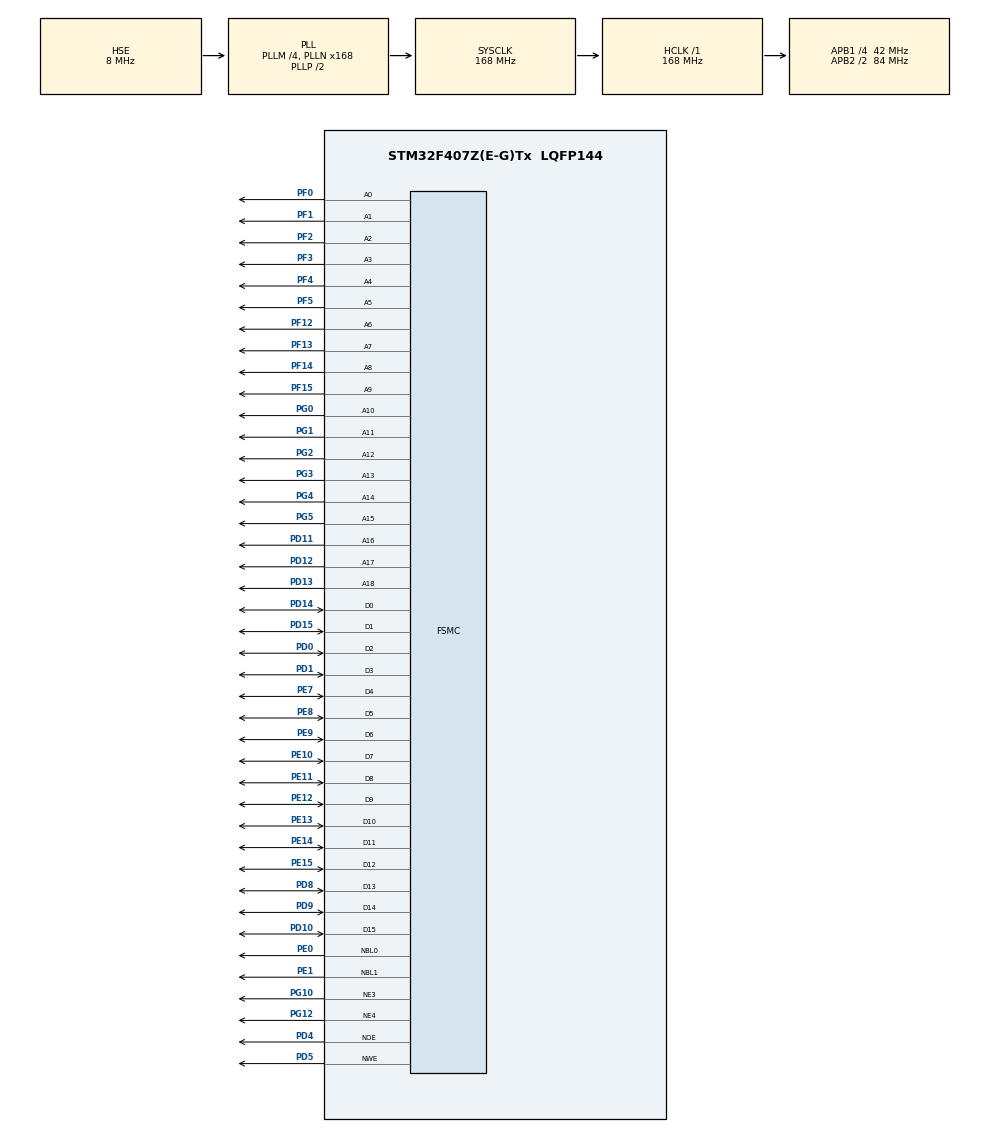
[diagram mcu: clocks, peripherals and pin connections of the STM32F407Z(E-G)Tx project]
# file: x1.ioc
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Dma.MEMTOMEM.0.Direction=DMA_MEMORY_TO_MEMORY
Dma.MEMTOMEM.0.FIFOMode=DMA_FIFOMODE_ENABLE
Dma.MEMTOMEM.0.FIFOThreshold=DMA_FIFO_THRESHOLD_FULL
Dma.MEMTOMEM.0.Instance=DMA2_Stream0
Dma.MEMTOMEM.0.MemBurst=DMA_MBURST_SINGLE
Dma.MEMTOMEM.0.MemDataAlignment=DMA_MDATAALIGN_BYTE
Dma.MEMTOMEM.0.MemInc=DMA_MINC_DISABLE
Dma.MEMTOMEM.0.Mode=DMA_NORMAL
Dma.MEMTOMEM.0.PeriphBurst=DMA_PBURST_SINGLE
Dma.MEMTOMEM.0.PeriphDataAlignment=DMA_PDATAALIGN_BYTE
Dma.MEMTOMEM.0.PeriphInc=DMA_PINC_DISABLE
Dma.MEMTOMEM.0.Priority=DMA_PRIORITY_LOW
Dma.Request0=MEMTOMEM
FSMC.AddressSetupTime2=15
FSMC.DataSetupTime2=150
FSMC.ExtendedMode1=FSMC_EXTENDED_MODE_ENABLE
FSMC.ExtendedMode2=FSMC_EXTENDED_MODE_DISABLE
FSMC.WriteOperation2=FSMC_WRITE_OPERATION_ENABLE
Mcu.Family=STM32F4
Mcu.Name=STM32F407Z(E-G)Tx
Mcu.Package=LQFP144
NVIC.DMA2_Stream0_IRQn=true\:0\:0\:false\:false\:true\:true\:true
NVIC.PriorityGroup=NVIC_PRIORITYGROUP_4
NVIC.TIM3_IRQn=true\:0\:0\:false\:false\:true\:true\:true
PD0.Signal=FSMC_D2_DA2
PD1.Signal=FSMC_D3_DA3
PD10.Signal=FSMC_D15_DA15
PD11.Signal=FSMC_A16_CLE
PD12.Signal=FSMC_A17_ALE
PD13.Signal=FSMC_A18
PD14.Signal=FSMC_D0_DA0
PD15.Signal=FSMC_D1_DA1
PD4.Signal=FSMC_NOE
PD5.Signal=FSMC_NWE
PD8.Signal=FSMC_D13_DA13
PD9.Signal=FSMC_D14_DA14
PE0.Signal=FSMC_NBL0
PE1.Signal=FSMC_NBL1
PE10.Signal=FSMC_D7_DA7
PE11.Signal=FSMC_D8_DA8
PE12.Signal=FSMC_D9_DA9
PE13.Signal=FSMC_D10_DA10
PE14.Signal=FSMC_D11_DA11
PE15.Signal=FSMC_D12_DA12
PE7.Signal=FSMC_D4_DA4
PE8.Signal=FSMC_D5_DA5
PE9.Signal=FSMC_D6_DA6
PF0.Signal=FSMC_A0
PF1.Signal=FSMC_A1
PF12.Signal=FSMC_A6
PF13.Signal=FSMC_A7
PF14.Signal=FSMC_A8
PF15.Signal=FSMC_A9
PF2.Signal=FSMC_A2
PF3.Signal=FSMC_A3
PF4.Signal=FSMC_A4
PF5.Signal=FSMC_A5
PG0.Signal=FSMC_A10
PG1.Signal=FSMC_A11
PG10.Mode=NorPsramChipSelect3_2
PG10.Signal=FSMC_NE3
PG12.Mode=NorPsramChipSelect4_1
PG12.Signal=FSMC_NE4
PG2.Signal=FSMC_A12
PG3.Signal=FSMC_A13
PG4.Signal=FSMC_A14
PG5.Signal=FSMC_A15
PH0-OSC_IN.Mode=HSE-External-Oscillator
PH0-OSC_IN.Signal=RCC_OSC_IN
PH1-OSC_OUT.Mode=HSE-External-Oscillator
PH1-OSC_OUT.Signal=RCC_OSC_OUT
ProjectManager.HeapSize=0x200
ProjectManager.StackSize=0x400
ProjectManager.TargetToolchain=MDK-ARM V5.27
RCC.48MHZClocksFreq_Value=84000000
RCC.AHBFreq_Value=168000000
RCC.APB1CLKDivider=RCC_HCLK_DIV4
RCC.APB1Freq_Value=42000000
RCC.APB1TimFreq_Value=84000000
RCC.APB2CLKDivider=RCC_HCLK_DIV2
RCC.APB2Freq_Value=84000000
RCC.APB2TimFreq_Value=168000000
RCC.CortexFreq_Value=168000000
RCC.HCLKFreq_Value=168000000
RCC.HSE_VALUE=8000000
RCC.HSI_VALUE=16000000
RCC.LSE_VALUE=32768
RCC.PLLM=4
RCC.PLLN=168
RCC.PLLSourceVirtual=RCC_PLLSOURCE_HSE
RCC.SYSCLKFreq_VALUE=168000000
RCC.SYSCLKSource=RCC_SYSCLKSOURCE_PLLCLK
RCC.VCOOutputFreq_Value=336000000
SH.FSMC_A0.0=FSMC_A0,19b-a2
SH.FSMC_A1.0=FSMC_A1,19b-a2
SH.FSMC_A10.0=FSMC_A10,19b-a2
SH.FSMC_A11.0=FSMC_A11,19b-a2
SH.FSMC_A12.0=FSMC_A12,19b-a2
SH.FSMC_A13.0=FSMC_A13,19b-a2
SH.FSMC_A14.0=FSMC_A14,19b-a2
SH.FSMC_A15.0=FSMC_A15,19b-a2
SH.FSMC_A16_CLE.0=FSMC_A16,19b-a2
SH.FSMC_A17_ALE.0=FSMC_A17,19b-a2
SH.FSMC_A18.0=FSMC_A18,19b-a2
SH.FSMC_A2.0=FSMC_A2,19b-a2
SH.FSMC_A3.0=FSMC_A3,19b-a2
SH.FSMC_A4.0=FSMC_A4,19b-a2
SH.FSMC_A5.0=FSMC_A5,19b-a2
SH.FSMC_A6.0=FSMC_A6,A6_1
SH.FSMC_A6.1=FSMC_A6,19b-a2
SH.FSMC_A7.0=FSMC_A7,19b-a2
SH.FSMC_A8.0=FSMC_A8,19b-a2
SH.FSMC_A9.0=FSMC_A9,19b-a2
SH.FSMC_D0_DA0.0=FSMC_D0,16b-d1
SH.FSMC_D0_DA0.1=FSMC_D0,16b-d2
SH.FSMC_D10_DA10.0=FSMC_D10,16b-d1
SH.FSMC_D10_DA10.1=FSMC_D10,16b-d2
SH.FSMC_D11_DA11.0=FSMC_D11,16b-d1
SH.FSMC_D11_DA11.1=FSMC_D11,16b-d2
SH.FSMC_D12_DA12.0=FSMC_D12,16b-d1
SH.FSMC_D12_DA12.1=FSMC_D12,16b-d2
SH.FSMC_D13_DA13.0=FSMC_D13,16b-d1
SH.FSMC_D13_DA13.1=FSMC_D13,16b-d2
SH.FSMC_D14_DA14.0=FSMC_D14,16b-d1
SH.FSMC_D14_DA14.1=FSMC_D14,16b-d2
SH.FSMC_D15_DA15.0=FSMC_D15,16b-d1
SH.FSMC_D15_DA15.1=FSMC_D15,16b-d2
SH.FSMC_D1_DA1.0=FSMC_D1,16b-d1
SH.FSMC_D1_DA1.1=FSMC_D1,16b-d2
SH.FSMC_D2_DA2.0=FSMC_D2,16b-d1
SH.FSMC_D2_DA2.1=FSMC_D2,16b-d2
SH.FSMC_D3_DA3.0=FSMC_D3,16b-d1
SH.FSMC_D3_DA3.1=FSMC_D3,16b-d2
SH.FSMC_D4_DA4.0=FSMC_D4,16b-d1
SH.FSMC_D4_DA4.1=FSMC_D4,16b-d2
SH.FSMC_D5_DA5.0=FSMC_D5,16b-d1
SH.FSMC_D5_DA5.1=FSMC_D5,16b-d2
SH.FSMC_D6_DA6.0=FSMC_D6,16b-d1
SH.FSMC_D6_DA6.1=FSMC_D6,16b-d2
SH.FSMC_D7_DA7.0=FSMC_D7,16b-d1
SH.FSMC_D7_DA7.1=FSMC_D7,16b-d2
SH.FSMC_D8_DA8.0=FSMC_D8,16b-d1
SH.FSMC_D8_DA8.1=FSMC_D8,16b-d2
SH.FSMC_D9_DA9.0=FSMC_D9,16b-d1
SH.FSMC_D9_DA9.1=FSMC_D9,16b-d2
SH.FSMC_NBL0.0=FSMC_NBL0,2ByteEnable2
SH.FSMC_NBL1.0=FSMC_NBL1,2ByteEnable2
SH.FSMC_NOE.0=FSMC_NOE,Lcd1
SH.FSMC_NOE.1=FSMC_NOE,Sram2
SH.FSMC_NWE.0=FSMC_NWE,Lcd1
SH.FSMC_NWE.1=FSMC_NWE,Sram2
TIM3.Period=9999
TIM3.Prescaler=8399
VP_TIM3_VS_ClockSourceINT.Mode=Internal
board=custom

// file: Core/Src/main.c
/* USER CODE BEGIN Header */
/**
  ******************************************************************************
  * @file           : main.c
  * @brief          : Main program body
  ******************************************************************************
  * @attention
  *
  * <h2><center>&copy; Copyright (c) 2021 STMicroelectronics.
  * All rights reserved.</center></h2>
  *
  * This software component is licensed by ST under BSD 3-Clause license,
  * the "License"; You may not use this file except in compliance with the
  * License. You may obtain a copy of the License at:
  *                        opensource.org/licenses/BSD-3-Clause
  *
  ******************************************************************************
  */
/* USER CODE END Header */
#include "main.h"
#include "dma.h"
#include "tim.h"
#include "gpio.h"
#include "fsmc.h"

/* USER CODE BEGIN Includes */
#include "tftlcd.h"
#include "sram.h"
/* USER CODE END Includes */

void SystemClock_Config(void);

/* USER CODE BEGIN 0 */
int s=0;
int y;
int kk=0;
void HAL_TIM_PeriodElapsedCallback(TIM_HandleTypeDef *htim)
{
  if (htim->Instance == TIM3) {
	y=s;
		s=0;
  }

}

void yes(DMA_HandleTypeDef *_hdma){
	if(_hdma->Instance==DMA2_Stream0){
		kk=1;
	}
}
/* USER CODE END 0 */

int main(void)
{

  /* MCU Configuration--------------------------------------------------------*/

  /* Reset of all peripherals, Initializes the Flash interface and the Systick. */
  HAL_Init();

  /* Configure the system clock */
  SystemClock_Config();

  /* Initialize all configured peripherals */
  MX_GPIO_Init();
  MX_DMA_Init();
  MX_FSMC_Init();
  MX_TIM3_Init();
  /* USER CODE BEGIN 2 */
	HAL_DMA_RegisterCallback(&hdma_memtomem_dma2_stream0,HAL_DMA_XFER_CPLT_CB_ID,yes);
	TFTLCD_Init();
	unsigned char fuck[]="123456789123456789123456789123456789123456789112345678912345678923456789";
	LCD_ShowFontHZ(100,100, fuck);
	LCD_DrawLine_Color(10,10,100,100,0);
	LCD_ShowChar(100,100,97,12,1);

	unsigned char da[50];
	FSMC_SRAM_WriteBuffer(fuck,0,5);
	LCD_ShowNum(50,100,234,3,16);
//	FSMC_SRAM_ReadBuffer(da,0,2);
//	HAL_TIM_Base_Start_IT(&htim3);

	HAL_Delay(1);
	LCD_ShowString(50,50,200,20,2400,da+48);
	HAL_Delay(1000);
	LCD_Set_Window(0, 0, 399, 239);
	for(int k=0;k<153600;k++){
			*(u8*)(Bank1_SRAM3_ADDR+k)=123;
	}
	s=0;
	HAL_DMA_Start_IT(&hdma_memtomem_dma2_stream0,Bank1_SRAM3_ADDR,TFTDATA_ADDR,64000);
  /* USER CODE END 2 */

  /* Infinite loop */
  /* USER CODE BEGIN WHILE */
  while (1)
  {

	HAL_DMA_Start_IT(&hdma_memtomem_dma2_stream0,Bank1_SRAM3_ADDR,TFTDATA_ADDR,64000);
		HAL_Delay(2000);
		while(kk==0);
		kk=1;
    /* USER CODE END WHILE */

  }
}

void SystemClock_Config(void)
{
  RCC_OscInitTypeDef RCC_OscInitStruct = {0};
  RCC_ClkInitTypeDef RCC_ClkInitStruct = {0};

  /** Configure the main internal regulator output voltage
  */
  __HAL_RCC_PWR_CLK_ENABLE();
  __HAL_PWR_VOLTAGESCALING_CONFIG(PWR_REGULATOR_VOLTAGE_SCALE1);
  /** Initializes the RCC Oscillators according to the specified parameters
  * in the RCC_OscInitTypeDef structure.
  */
  RCC_OscInitStruct.OscillatorType = RCC_OSCILLATORTYPE_HSE;
  RCC_OscInitStruct.HSEState = RCC_HSE_ON;
  RCC_OscInitStruct.PLL.PLLState = RCC_PLL_ON;
  RCC_OscInitStruct.PLL.PLLSource = RCC_PLLSOURCE_HSE;
  RCC_OscInitStruct.PLL.PLLM = 4;
  RCC_OscInitStruct.PLL.PLLN = 168;
  RCC_OscInitStruct.PLL.PLLP = RCC_PLLP_DIV2;
  RCC_OscInitStruct.PLL.PLLQ = 4;
  if (HAL_RCC_OscConfig(&RCC_OscInitStruct) != HAL_OK)
  {
    Error_Handler();
  }
  /** Initializes the CPU, AHB and APB buses clocks
  */
  RCC_ClkInitStruct.ClockType = RCC_CLOCKTYPE_HCLK|RCC_CLOCKTYPE_SYSCLK
                              |RCC_CLOCKTYPE_PCLK1|RCC_CLOCKTYPE_PCLK2;
  RCC_ClkInitStruct.SYSCLKSource = RCC_SYSCLKSOURCE_PLLCLK;
  RCC_ClkInitStruct.AHBCLKDivider = RCC_SYSCLK_DIV1;
  RCC_ClkInitStruct.APB1CLKDivider = RCC_HCLK_DIV4;
  RCC_ClkInitStruct.APB2CLKDivider = RCC_HCLK_DIV2;

  if (HAL_RCC_ClockConfig(&RCC_ClkInitStruct, FLASH_LATENCY_5) != HAL_OK)
  {
    Error_Handler();
  }
}

void Error_Handler(void)
{
  __disable_irq();
  while (1)
  {
  }
}

/************************ (C) COPYRIGHT STMicroelectronics *****END OF FILE****/
